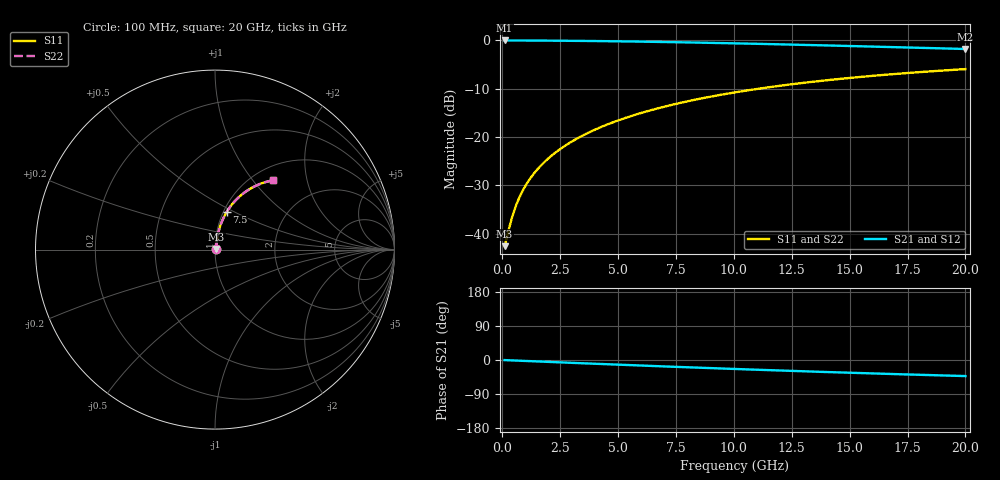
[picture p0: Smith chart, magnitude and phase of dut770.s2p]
! Touchstone file exported from HFSS 2024.1.0
!  File:  C:/UserFiles/LocalFiles/RDL_TSV_Batchsim/temp_RDL_top_770_1779852581.aedt
!  Generated:  11:31:56 AM May 27, 2026
!  Design:  RDL_top
!  Project:  temp_RDL_top_770_1779852581
!  Setup:  Setup1
!  Solution:  Sweep
! Variables:
!  dtsv = 10.80580581um
!  hbump = 3um
!  htsv = 53.15um
!  ldown = 100um
!  lrdl = 499.8um
!  p = 40
!  p1 = 54.99um
!  rhole = 1um
!  t = 450um
!  tdown = 3.915915916um
!  trdl = 2.18um
!  wdown = 15.38538539um
!  wrdl = 12.15um
# GHz S MA R 50.000000
! Terminal data exported
! Port[1] = Box2_T1
! Port[2] = Box2_T2
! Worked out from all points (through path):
!   200 points, 100 MHz to 20 GHz, reference 50 ohm
!   highest |S21| = -0.06 dB at 100 MHz (marker M1); lowest = -1.8 dB at 20 GHz (marker M2)
!   group delay of S21, straight-line fit = 5.9 ps
!   lowest |S11| = -42.5 dB at 100 MHz (marker M3), VSWR 1.02, Z = 50.7 + j0.313 ohm
!   |S11| at or under -10 dB: start of sweep to 11.1 GHz
!   |S22| runs from -42.5 to -6.0 dB; largest |S21 - S12| = 2.5e-15
!   S11 on the Smith chart (normalised r, x): 100 MHz: 1.01, +0.01; 7.5 GHz: 1.04, +0.46; 20 GHz: 1.23, +1.27
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0.1  0.007461 24.4  0.9932 -0.3  0.9932 -0.3  0.007461 24.4
! Gamma 0 0 0 0
! Port Impedance 50 0 50 0
0.4  0.01419 59.9  0.9929 -1.0  0.9929 -1.0  0.01419 59.9
0.5  0.01695 64.5  0.9927 -1.3  0.9927 -1.3  0.01695 64.5
0.6  0.01979 67.7  0.9926 -1.5  0.9926 -1.5  0.01979 67.7
0.7  0.02265 70.0  0.9924 -1.8  0.9924 -1.8  0.02265 70.0
0.9  0.02843 73.1  0.9919 -2.3  0.9919 -2.3  0.02843 73.1
1.2  0.03714 75.8  0.9912 -3.0  0.9912 -3.0  0.03714 75.8
1.4  0.04296 76.9  0.9907 -3.5  0.9907 -3.5  0.04296 76.9
1.7  0.0517 77.9  0.9898 -4.3  0.9898 -4.3  0.0517 77.9
2.2  0.0663 78.8  0.9882 -5.5  0.9882 -5.5  0.0663 78.8
2.8  0.08387 79.0  0.9858 -7.0  0.9858 -7.0  0.08387 79.0
3.5  0.1044 78.6  0.9825 -8.7  0.9825 -8.7  0.1044 78.6
4.2  0.1249 77.9  0.9785 -10.4  0.9785 -10.4  0.1249 77.9
5  0.1482 76.9  0.9733 -12.3  0.9733 -12.3  0.1482 76.9
5.9  0.1743 75.5  0.9667 -14.4  0.9667 -14.4  0.1743 75.5
6.8  0.2001 74.0  0.9592 -16.5  0.9592 -16.5  0.2001 74.0
7.5  0.2198 72.7  0.953 -18.1  0.953 -18.1  0.2198 72.7
8.7  0.253 70.5  0.9415 -20.8  0.9415 -20.8  0.253 70.5
10.1  0.2904 67.8  0.927 -23.8  0.927 -23.8  0.2904 67.8
13.4  0.3718 61.6  0.8897 -30.6  0.8897 -30.6  0.3718 61.6
16.7  0.4426 55.6  0.8502 -36.8  0.8502 -36.8  0.4426 55.6
20  0.5027 50.1  0.8108 -42.4  0.8108 -42.4  0.5027 50.1
